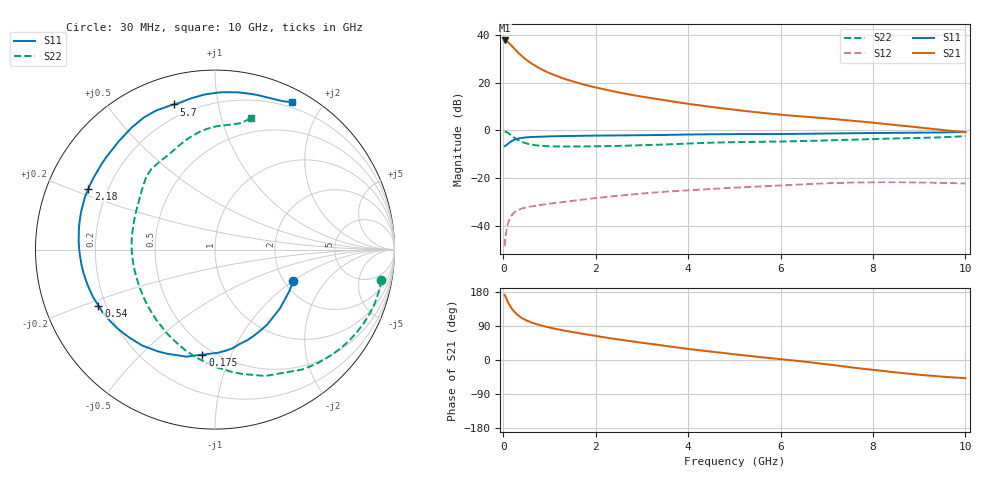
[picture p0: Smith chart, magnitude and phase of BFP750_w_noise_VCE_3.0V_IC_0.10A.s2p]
! Infineon Technologies  Discrete & RF Semiconductors
! BFP750
! VCE =  3.0 V,  IC = 0.10 A
! Common Emitter S-Parameters:  Jan 2016
# GHz  S  MA  R  50
!  f  S11  S21  S12  S22
! GHz  MAG  ANG  MAG  ANG  MAG  ANG  MAG  ANG
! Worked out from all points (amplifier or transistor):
!   229 points, 30 MHz to 10 GHz, reference 50 ohm
!   highest |S21| = 37.7 dB at 30 MHz (marker M1)
!   |S21| within 3 dB of that: start of sweep to 218.6 MHz
!   unconditionally stable (mu >= 1): 3.178 GHz to end of sweep
!   at 280 MHz: K = 0.22, MSG = 33.5 dB, |S12| = -33.7 dB
!   at 1.78 GHz: K = 0.80, MSG = 23.9 dB, |S12| = -28.8 dB
!   at 10 GHz: K = 1.04, MAG = 9.5 dB, |S12| = -22.2 dB
!   lowest NFmin = 1.57 dB at 450 MHz
!   S11 on the Smith chart (normalised r, x): 30 MHz: 2.23, -1.01; 175 MHz: 0.44, -0.79; 540 MHz: 0.17, -0.22; 2.18 GHz: 0.13, +0.22; 5.7 GHz: 0.14, +0.75; 10 GHz: 0.14, +1.64
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0.03  0.4698 -22.1  76.41 172.1  0.0038 80.7  0.942 -10.3
0.05  0.479 -36.0  75.86 166.0  0.006 75.3  0.9392 -18.6
0.07  0.4961 -49.0  74.02 160.5  0.0082 72.3  0.9243 -26.5
0.1  0.5264 -65.6  70.56 153.1  0.011 65.9  0.8914 -37.7
0.14  0.566 -83.8  65.03 144.2  0.0142 58.7  0.8383 -51.1
0.175  0.5895 -96.8  59.91 137.8  0.0162 53.4  0.785 -61.0
0.2  0.6171 -104.9  56.51 133.0  0.0176 50.4  0.7575 -68.4
0.24  0.6389 -114.8  51.44 127.5  0.0193 46.2  0.7083 -77.8
0.32  0.6757 -130.4  42.82 118.1  0.0217 40.2  0.6336 -94.0
0.4  0.6996 -141.4  36.17 111.0  0.0233 36.2  0.5815 -107.2
0.54  0.7206 -154.3  28.27 102.7  0.0251 32.6  0.5242 -123.9
0.7  0.7368 -164.5  22.25 95.3  0.0267 30.6  0.4915 -138.4
1  0.7527 -177.2  15.85 85.7  0.0293 29.7  0.4673 -156.3
1.3  0.7639 173.8  12.28 78.2  0.032 29.7  0.4619 -168.1
1.7  0.7751 164.3  9.391 69.5  0.0357 29.7  0.4639 -179.7
2.18  0.7832 154.3  7.25 59.9  0.0402 28.7  0.4696 169.2
3.4  0.8033 133.2  4.42 39.0  0.0515 23.3  0.5042 147.1
5.1  0.8406 112.0  2.647 13.8  0.0643 12.9  0.5724 127.5
5.7  0.8405 105.8  2.286 5.9  0.0685 8.9  0.5807 120.4
6.8  0.8604 95.7  1.85 -8.4  0.077 0.4  0.6108 109.6
8.4  0.8906 77.0  1.329 -31.5  0.0827 -15.3  0.6808 91.7
10  0.9278 62.4  0.923 -47.9  0.078 -27.3  0.7603 74.8
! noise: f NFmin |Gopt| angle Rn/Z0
0.45  1.57  0.34  -169  0.3
0.9  1.58  0.42  -164  0.15
1.5  1.6  0.52  -154  0.09
1.9  1.6  0.53  -148  0.1
2.4  1.6  0.53  -141  0.13
3.5  1.86  0.53  -124  0.19
